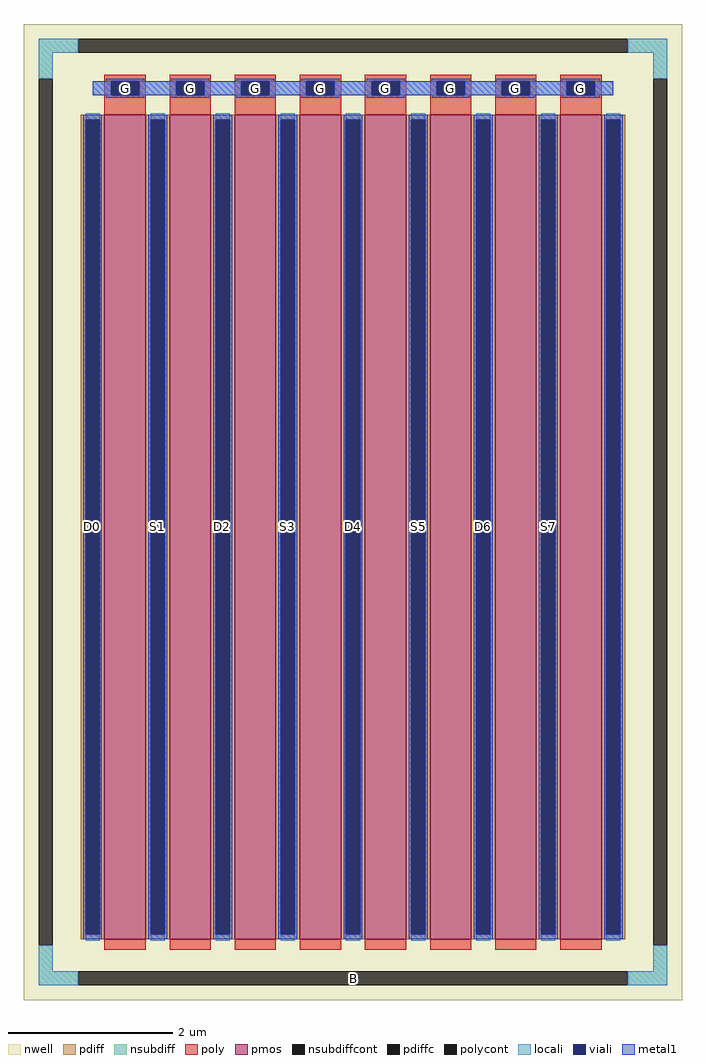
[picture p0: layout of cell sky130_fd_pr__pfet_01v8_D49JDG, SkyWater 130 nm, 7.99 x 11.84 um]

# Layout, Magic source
magic
tech sky130A
magscale 1 2
<< nwell >>
rect -799 -1184 799 1184
<< pmos >>
rect -603 -1036 -503 964
rect -445 -1036 -345 964
rect -287 -1036 -187 964
rect -129 -1036 -29 964
rect 29 -1036 129 964
rect 187 -1036 287 964
rect 345 -1036 445 964
rect 503 -1036 603 964
<< pdiff >>
rect -661 952 -603 964
rect -661 -1024 -649 952
rect -615 -1024 -603 952
rect -661 -1036 -603 -1024
rect -503 952 -445 964
rect -503 -1024 -491 952
rect -457 -1024 -445 952
rect -503 -1036 -445 -1024
rect -345 952 -287 964
rect -345 -1024 -333 952
rect -299 -1024 -287 952
rect -345 -1036 -287 -1024
rect -187 952 -129 964
rect -187 -1024 -175 952
rect -141 -1024 -129 952
rect -187 -1036 -129 -1024
rect -29 952 29 964
rect -29 -1024 -17 952
rect 17 -1024 29 952
rect -29 -1036 29 -1024
rect 129 952 187 964
rect 129 -1024 141 952
rect 175 -1024 187 952
rect 129 -1036 187 -1024
rect 287 952 345 964
rect 287 -1024 299 952
rect 333 -1024 345 952
rect 287 -1036 345 -1024
rect 445 952 503 964
rect 445 -1024 457 952
rect 491 -1024 503 952
rect 445 -1036 503 -1024
rect 603 952 661 964
rect 603 -1024 615 952
rect 649 -1024 661 952
rect 603 -1036 661 -1024
<< pdiffc >>
rect -649 -1024 -615 952
rect -491 -1024 -457 952
rect -333 -1024 -299 952
rect -175 -1024 -141 952
rect -17 -1024 17 952
rect 141 -1024 175 952
rect 299 -1024 333 952
rect 457 -1024 491 952
rect 615 -1024 649 952
<< nsubdiff >>
rect -763 1114 -667 1148
rect 667 1114 763 1148
rect -763 1051 -729 1114
rect 729 1051 763 1114
rect -763 -1114 -729 -1051
rect 729 -1114 763 -1051
rect -763 -1148 -667 -1114
rect 667 -1148 763 -1114
<< nsubdiffcont >>
rect -667 1114 667 1148
rect -763 -1051 -729 1051
rect 729 -1051 763 1051
rect -667 -1148 667 -1114
<< poly >>
rect -603 1045 -503 1061
rect -603 1011 -587 1045
rect -519 1011 -503 1045
rect -603 964 -503 1011
rect -445 1045 -345 1061
rect -445 1011 -429 1045
rect -361 1011 -345 1045
rect -445 964 -345 1011
rect -287 1045 -187 1061
rect -287 1011 -271 1045
rect -203 1011 -187 1045
rect -287 964 -187 1011
rect -129 1045 -29 1061
rect -129 1011 -113 1045
rect -45 1011 -29 1045
rect -129 964 -29 1011
rect 29 1045 129 1061
rect 29 1011 45 1045
rect 113 1011 129 1045
rect 29 964 129 1011
rect 187 1045 287 1061
rect 187 1011 203 1045
rect 271 1011 287 1045
rect 187 964 287 1011
rect 345 1045 445 1061
rect 345 1011 361 1045
rect 429 1011 445 1045
rect 345 964 445 1011
rect 503 1045 603 1061
rect 503 1011 519 1045
rect 587 1011 603 1045
rect 503 964 603 1011
rect -603 -1062 -503 -1036
rect -445 -1062 -345 -1036
rect -287 -1062 -187 -1036
rect -129 -1062 -29 -1036
rect 29 -1062 129 -1036
rect 187 -1062 287 -1036
rect 345 -1062 445 -1036
rect 503 -1062 603 -1036
<< polycont >>
rect -587 1011 -519 1045
rect -429 1011 -361 1045
rect -271 1011 -203 1045
rect -113 1011 -45 1045
rect 45 1011 113 1045
rect 203 1011 271 1045
rect 361 1011 429 1045
rect 519 1011 587 1045
<< locali >>
rect -763 1114 -667 1148
rect 667 1114 763 1148
rect -763 1051 -729 1114
rect 729 1051 763 1114
rect -632 1011 -587 1045
rect -519 1011 -429 1045
rect -361 1011 -271 1045
rect -203 1011 -113 1045
rect -45 1011 45 1045
rect 113 1011 203 1045
rect 271 1011 361 1045
rect 429 1011 519 1045
rect 587 1011 632 1045
rect -649 952 -615 968
rect -649 -1040 -615 -1024
rect -491 952 -457 968
rect -491 -1040 -457 -1024
rect -333 952 -299 968
rect -333 -1040 -299 -1024
rect -175 952 -141 968
rect -175 -1040 -141 -1024
rect -17 952 17 968
rect -17 -1040 17 -1024
rect 141 952 175 968
rect 141 -1040 175 -1024
rect 299 952 333 968
rect 299 -1040 333 -1024
rect 457 952 491 968
rect 457 -1040 491 -1024
rect 615 952 649 968
rect 615 -1040 649 -1024
rect -763 -1114 -729 -1051
rect 729 -1114 763 -1051
rect -763 -1148 -667 -1114
rect 667 -1148 763 -1114
<< viali >>
rect -587 1011 -519 1045
rect -429 1011 -361 1045
rect -271 1011 -203 1045
rect -113 1011 -45 1045
rect 45 1011 113 1045
rect 203 1011 271 1045
rect 361 1011 429 1045
rect 519 1011 587 1045
rect -649 -1024 -615 952
rect -491 -1024 -457 952
rect -333 -1024 -299 952
rect -175 -1024 -141 952
rect -17 -1024 17 952
rect 141 -1024 175 952
rect 299 -1024 333 952
rect 457 -1024 491 952
rect 615 -1024 649 952
<< metal1 >>
rect -599 1045 -507 1051
rect -441 1045 -349 1051
rect -283 1045 -191 1051
rect -125 1045 -33 1051
rect 33 1045 125 1051
rect 191 1045 283 1051
rect 349 1045 441 1051
rect 507 1045 599 1051
rect -632 1011 -587 1045
rect -519 1011 -429 1045
rect -361 1011 -271 1045
rect -203 1011 -113 1045
rect -45 1011 45 1045
rect 113 1011 203 1045
rect 271 1011 361 1045
rect 429 1011 519 1045
rect 587 1011 632 1045
rect -599 1005 -507 1011
rect -441 1005 -349 1011
rect -283 1005 -191 1011
rect -125 1005 -33 1011
rect 33 1005 125 1011
rect 191 1005 283 1011
rect 349 1005 441 1011
rect 507 1005 599 1011
rect -655 952 -609 964
rect -655 -1024 -649 952
rect -615 -1024 -609 952
rect -655 -1036 -609 -1024
rect -497 952 -451 964
rect -497 -1024 -491 952
rect -457 -1024 -451 952
rect -497 -1036 -451 -1024
rect -339 952 -293 964
rect -339 -1024 -333 952
rect -299 -1024 -293 952
rect -339 -1036 -293 -1024
rect -181 952 -135 964
rect -181 -1024 -175 952
rect -141 -1024 -135 952
rect -181 -1036 -135 -1024
rect -23 952 23 964
rect -23 -1024 -17 952
rect 17 -1024 23 952
rect -23 -1036 23 -1024
rect 135 952 181 964
rect 135 -1024 141 952
rect 175 -1024 181 952
rect 135 -1036 181 -1024
rect 293 952 339 964
rect 293 -1024 299 952
rect 333 -1024 339 952
rect 293 -1036 339 -1024
rect 451 952 497 964
rect 451 -1024 457 952
rect 491 -1024 497 952
rect 451 -1036 497 -1024
rect 609 952 655 964
rect 609 -1024 615 952
rect 649 -1024 655 952
rect 609 -1036 655 -1024
<< labels >>
rlabel nsubdiffcont 0 -1131 0 -1131 0 B
port 1 nsew
rlabel pdiffc -632 -36 -632 -36 0 D0
port 2 nsew
rlabel polycont -553 1028 -553 1028 0 G
port 3 nsew
rlabel pdiffc -474 -36 -474 -36 0 S1
port 4 nsew
rlabel polycont -395 1028 -395 1028 0 G
port 3 nsew
rlabel pdiffc -316 -36 -316 -36 0 D2
port 5 nsew
rlabel polycont -237 1028 -237 1028 0 G
port 3 nsew
rlabel pdiffc -158 -36 -158 -36 0 S3
port 6 nsew
rlabel polycont -79 1028 -79 1028 0 G
port 3 nsew
rlabel pdiffc 0 -36 0 -36 0 D4
port 7 nsew
rlabel polycont 79 1028 79 1028 0 G
port 3 nsew
rlabel pdiffc 158 -36 158 -36 0 S5
port 8 nsew
rlabel polycont 237 1028 237 1028 0 G
port 3 nsew
rlabel pdiffc 316 -36 316 -36 0 D6
port 9 nsew
rlabel polycont 395 1028 395 1028 0 G
port 3 nsew
rlabel pdiffc 474 -36 474 -36 0 S7
port 10 nsew
rlabel polycont 553 1028 553 1028 0 G
port 3 nsew
<< properties >>
string FIXED_BBOX -746 -1131 746 1131
string gencell sky130_fd_pr__pfet_01v8
string library sky130
string parameters w 10.0 l 0.5 m 1 nf 8 diffcov 100 polycov 100 guard 1 glc 1 grc 1 gtc 1 gbc 1 tbcov 100 rlcov 100 topc 1 botc 0 poverlap 0 doverlap 1 lmin 0.15 wmin 0.42 class mosfet compatible {sky130_fd_pr__pfet_01v8  sky130_fd_pr__pfet_01v8_lvt sky130_fd_pr__pfet_01v8_hvt  sky130_fd_pr__pfet_g5v0d10v5} full_metal 1 conn_gates 1 viasrc 100 viadrn 100 viagate 100 viagb 0 viagr 0 viagl 0 viagt 0 doports 1
<< end >>
